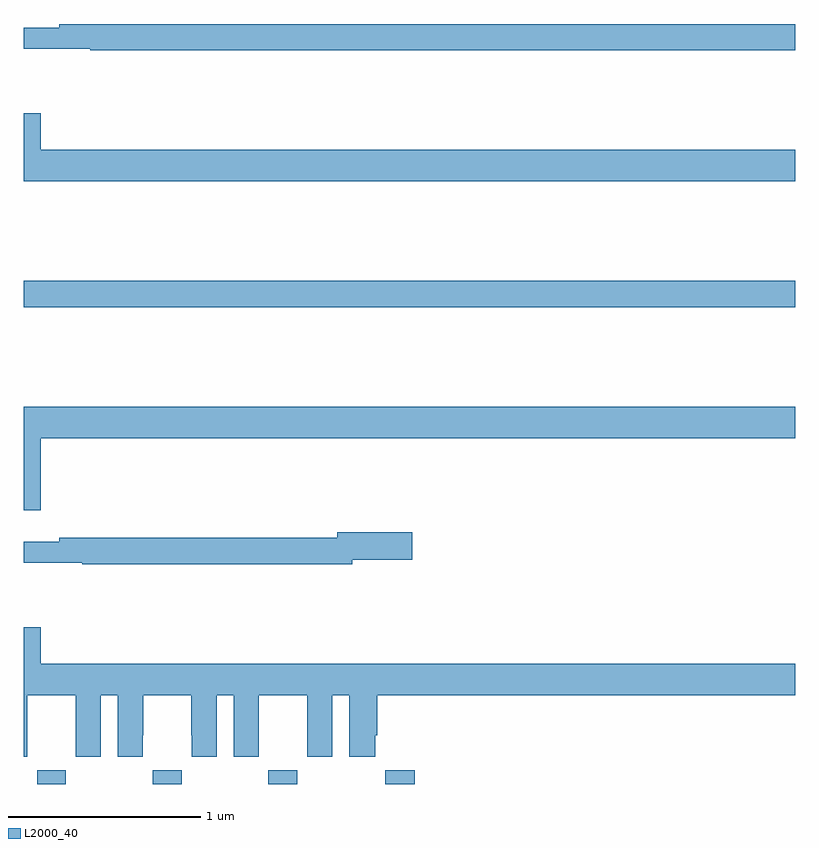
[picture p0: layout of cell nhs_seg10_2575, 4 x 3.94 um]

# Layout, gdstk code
import gdstk
lib = gdstk.Library(unit=1e-6, precision=1e-09)
def R(c, l, rs):  # rectangles x0, y0, x1, y1
    for r in rs: c.add(gdstk.rectangle(r[:2], r[2:], *l))
def A(c, l, x, y, w, h, nx, ny, dx, dy):  # array of equal rectangles
    R(c, l, [(x+i*dx, y+j*dy, x+i*dx+w, y+j*dy+h) for i in range(nx) for j in range(ny)])
def P(c, l, *ps):  # polygons
    for p in ps: c.add(gdstk.Polygon(p, *l))
L2000_40 = (2000, 40)

nhs_seg10_2575 = lib.new_cell('nhs_seg10_2575')
A(nhs_seg10_2575, L2000_40, 249.069, 1322.5, 0.15, 0.072, 3, 1, 0.6, 0)
R(nhs_seg10_2575, L2000_40, [(250.873,1322.5,251.027,1322.572), (249,1324.972,253,1325.108)])
P(nhs_seg10_2575, L2000_40, [(253,1326.44),(249.184,1326.44),(249.184,1326.421),(249,1326.421),(249,1326.312),(249.345,1326.312),(249.345,1326.304),(253,1326.304)],
  [(253,1325.788),(249.088,1325.788),(249.088,1325.977),(249,1325.977),(249,1325.624),(253,1325.624)],
  [(249.088,1324.292),(253,1324.292),(253,1324.456),(249,1324.456),(249,1323.918),(249.088,1323.918)],
  [(250.704,1323.662),(251.014,1323.662),(251.014,1323.804),(250.625,1323.804),(250.625,1323.776),(249.184,1323.776),(249.184,1323.757),(249,1323.757),(249,1323.648),(249.304,1323.648),(249.304,1323.64),(250.704,1323.64)],
  [(249.018,1322.752),(249.019,1322.752),(249.019,1322.96),(249.269,1322.96),(249.269,1322.752),(249.27,1322.752),(249.27,1322.64),(249.4,1322.64),(249.4,1322.96),(249.488,1322.96),(249.488,1322.64),(249.618,1322.64),(249.618,1322.752),(249.619,1322.752),(249.619,1322.96),(249.869,1322.96),(249.869,1322.752),(249.87,1322.752),(249.87,1322.64),(250,1322.64),(250,1322.96),(250.088,1322.96),(250.088,1322.64),(250.218,1322.64),(250.218,1322.752),(250.219,1322.752),(250.219,1322.96),(250.469,1322.96),(250.469,1322.752),(250.47,1322.752),(250.47,1322.64),(250.6,1322.64),(250.6,1322.96),(250.688,1322.96),(250.688,1322.64),(250.822,1322.64),(250.822,1322.752),(250.832,1322.752),(250.832,1322.96),(253,1322.96),(253,1323.124),(249.088,1323.124),(249.088,1323.313),(249,1323.313),(249,1322.64),(249.018,1322.64)])

lib.write_gds('nhs_seg10_2575.gds')
